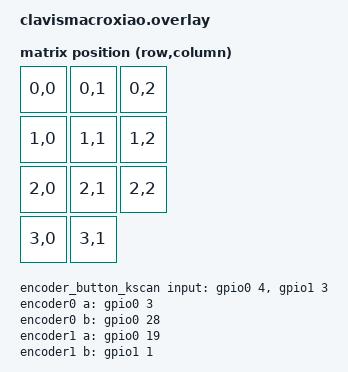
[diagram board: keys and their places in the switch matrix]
#include <dt-bindings/zmk/matrix_transform.h>

#include <zephyr/dt-bindings/gpio/gpio.h>
#include <zephyr/dt-bindings/mipi_dbi/mipi_dbi.h>
#include <zephyr/dt-bindings/adc/adc.h>
#include <zephyr/dt-bindings/adc/nrf-saadc.h>
#include <zephyr/dt-bindings/pinctrl/nrf-pinctrl.h>

/ {
    chosen {
        zmk,kscan = &kscan0;
        zmk,matrix-transform = &default_transform;

        zephyr,display = &clavis_st7789;
        zmk,display-led = &lcd_bl;
    };

    /*
     * ========================================================
     * KSCAN COMPUESTO
     * ========================================================
     *
     * Filas 0–2 = nueve teclas Hall.
     * Fila 3    = botones de los dos encoders.
     */

    kscan0: kscan_composite {
        compatible = "zmk,kscan-composite";

        rows = <4>;
        columns = <3>;

        wakeup-source;

        hall_keys {
            kscan = <&clavis_hall>;
        };

        encoder_buttons {
            kscan = <&encoder_button_kscan>;
            row-offset = <3>;
        };
    };

    /*
     * ========================================================
     * HALL EFFECT — 9x HAL403 + CD74HC4067
     * ========================================================
     *
     * Arduino reference:
     *
     * COM = D0  = P0.02 / AIN0
     * S0  = D3  = P0.29
     * S1  = D6  = P1.11
     * S2  = D7  = P1.12
     * S3  = D9  = P1.14
     * EN  = D11 = P0.15
     */

    clavis_hall: clavis_hall {
        compatible = "rvan,clavis-hall-kscan";

        io-channels = <&adc 0>;

        mux-s0-gpios = <&gpio0 29 GPIO_ACTIVE_HIGH>;
        mux-s1-gpios = <&gpio1 11 GPIO_ACTIVE_HIGH>;
        mux-s2-gpios = <&gpio1 12 GPIO_ACTIVE_HIGH>;
        mux-s3-gpios = <&gpio1 14 GPIO_ACTIVE_HIGH>;

        mux-enable-gpios =
            <&gpio0 15 GPIO_ACTIVE_LOW>;

        /*
         * Initial values copied from the working Arduino version.
         */
        actuation-counts = <180>;
        rapid-trigger-counts = <70>;
        release-counts = <45>;

        /*
         * EMA:
         * filtered += (raw - filtered) >> 2;
         */
        filter-shift = <2>;

        /*
         * Start with a 1 ms delay between complete scans.
         * Real effective scan time also includes the ADC conversions.
         */
        scan-period-ms = <1>;

        /*
         * CD74HC4067 settling time used by Arduino.
         */
        mux-settle-us = <5>;

        status = "okay";
    };

    /*
     * ========================================================
     * BOTONES DE ENCODERS
     * ========================================================
     *
     * EC0 SW = D4  = P0.04
     * EC1 SW = D17 = P1.03
     */

    encoder_button_kscan: encoder_button_kscan {
        compatible = "zmk,kscan-gpio-direct";

        wakeup-source;

        debounce-press-ms = <5>;
        debounce-release-ms = <5>;

        input-gpios
            = <&gpio0 4 (GPIO_ACTIVE_LOW | GPIO_PULL_UP)>
            , <&gpio1 3 (GPIO_ACTIVE_LOW | GPIO_PULL_UP)>
            ;
    };

    /*
     * ========================================================
     * POSICIONES LÓGICAS
     * ========================================================
     *
     * 0–8  = Hall:
     *
     * 0 1 2
     * 3 4 5
     * 6 7 8
     *
     * 9    = EC0 SW
     * 10   = EC1 SW
     */

    default_transform: matrix_transform {
        compatible = "zmk,matrix-transform";

        rows = <4>;
        columns = <3>;

        map = <
            RC(0, 0) RC(0, 1) RC(0, 2)
            RC(1, 0) RC(1, 1) RC(1, 2)
            RC(2, 0) RC(2, 1) RC(2, 2)
            RC(3, 0) RC(3, 1)
        >;
    };

    /*
     * ========================================================
     * ENCODER 0 — RGB
     * ========================================================
     *
     * A  = D1 = P0.03
     * B  = D2 = P0.28
     * SW = D4 = P0.04
     */

    encoder0: encoder0 {
        compatible = "alps,ec11";

        a-gpios = <&gpio0 3
            (GPIO_ACTIVE_HIGH | GPIO_PULL_UP)>;

        b-gpios = <&gpio0 28
            (GPIO_ACTIVE_HIGH | GPIO_PULL_UP)>;

        steps = <80>;

        status = "okay";
    };

    /*
     * ========================================================
     * ENCODER 1 — VOLUMEN
     * ========================================================
     *
     * A  = D12 = P0.19
     * B  = D13 = P1.01
     * SW = D17 = P1.03
     */

    encoder1: encoder1 {
        compatible = "alps,ec11";

        a-gpios = <&gpio0 19
            (GPIO_ACTIVE_HIGH | GPIO_PULL_UP)>;

        b-gpios = <&gpio1 1
            (GPIO_ACTIVE_HIGH | GPIO_PULL_UP)>;

        steps = <80>;

        status = "okay";
    };

    clavis_sensors: clavis_sensors {
        compatible = "zmk,keymap-sensors";

        sensors = <&encoder0 &encoder1>;

        /*
         * Reduced from 20 for finer encoder control.
         */
        triggers-per-rotation = <12>;
    };

    /*
     * ========================================================
     * BACKLIGHT ST7789
     * ========================================================
     */

    lcd_backlight: lcd_backlight {
        compatible = "gpio-leds";

        lcd_bl: lcd_bl {
            gpios = <&gpio0 5 GPIO_ACTIVE_HIGH>;
            label = "ST7789 Backlight";
        };
    };

    /*
     * ========================================================
     * ST7789 240 × 240
     * ========================================================
     */

    clavis_mipi_dbi {
        compatible = "zephyr,mipi-dbi-spi";

        spi-dev = <&xiao_spi>;

        dc-gpios = <&gpio0 9 GPIO_ACTIVE_HIGH>;
        reset-gpios = <&gpio0 10 GPIO_ACTIVE_LOW>;

        write-only;

        #address-cells = <1>;
        #size-cells = <0>;

        clavis_st7789: st7789v@0 {
            compatible = "sitronix,st7789v";

            reg = <0>;

            mipi-max-frequency = <4000000>;
            mipi-mode = "MIPI_DBI_MODE_SPI_4WIRE";

            width = <240>;
            height = <240>;

            x-offset = <0>;
            y-offset = <80>;

            vcom = <0x19>;
            gctrl = <0x35>;
            vrhs = <0x12>;
            vdvs = <0x20>;

            mdac = <0xC0>;

            lcm = <0x2c>;
            colmod = <0x55>;
            gamma = <0x01>;

            porch-param = [0c 0c 00 33 33];
            cmd2en-param = [5a 69 02 01];
            pwctrl1-param = [a4 a1];

            pvgam-param = [
                d0 04 0d 11 13 2b 3f
                54 4c 18 0d 0b 1f 23
            ];

            nvgam-param = [
                d0 04 0c 11 13 2c 3f
                44 51 2f 1f 1f 20 23
            ];

            ram-param = [00 f0];
            rgb-param = [cd 08 14];

            status = "okay";
        };
    };
};

/*
 * ========================================================
 * ADC — Hall MUX COM on D0 / P0.02 / AIN0
 * ========================================================
 *
 * Gain 1/6 + internal reference gives the same basic
 * 3.6 V full-scale arrangement used by the Arduino version.
 */

&adc {
    status = "okay";

    #address-cells = <1>;
    #size-cells = <0>;

    channel@0 {
        reg = <0>;

        zephyr,gain = "ADC_GAIN_1_6";
        zephyr,reference = "ADC_REF_INTERNAL";
        zephyr,acquisition-time = <ADC_ACQ_TIME_DEFAULT>;

        zephyr,input-positive = <NRF_SAADC_AIN0>;

        zephyr,resolution = <12>;
        zephyr,oversampling = <0>;
    };
};

/*
 * SPI pantalla:
 *
 * MOSI = D10 = P1.15
 * SCLK = D8  = P1.13
 * CS   = D19 = P1.07
 */


/*
 * ========================================================
 * SPI ST7789 — SIN MISO
 * ========================================================
 *
 * P1.14 / D9 está reservado para S3 del CD74HC4067.
 * La ST7789 es write-only, por lo que no necesita MISO.
 */

&pinctrl {
    clavis_tft_spi_default: clavis_tft_spi_default {
        group1 {
            psels = <
                NRF_PSEL(SPIM_SCK, 1, 13)
                NRF_PSEL(SPIM_MOSI, 1, 15)
            >;
        };
    };

    clavis_tft_spi_sleep: clavis_tft_spi_sleep {
        group1 {
            psels = <
                NRF_PSEL(SPIM_SCK, 1, 13)
                NRF_PSEL(SPIM_MOSI, 1, 15)
            >;
            low-power-enable;
        };
    };
};

&xiao_spi {
    status = "okay";

    pinctrl-0 = <&clavis_tft_spi_default>;
    pinctrl-1 = <&clavis_tft_spi_sleep>;
    pinctrl-names = "default", "sleep";

    cs-gpios = <&gpio1 7 GPIO_ACTIVE_LOW>;
};

/*
 * D14/P0.09 y D15/P0.10 como GPIO,
 * no NFC.
 */

&uicr {
    nfct-pins-as-gpios;
};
